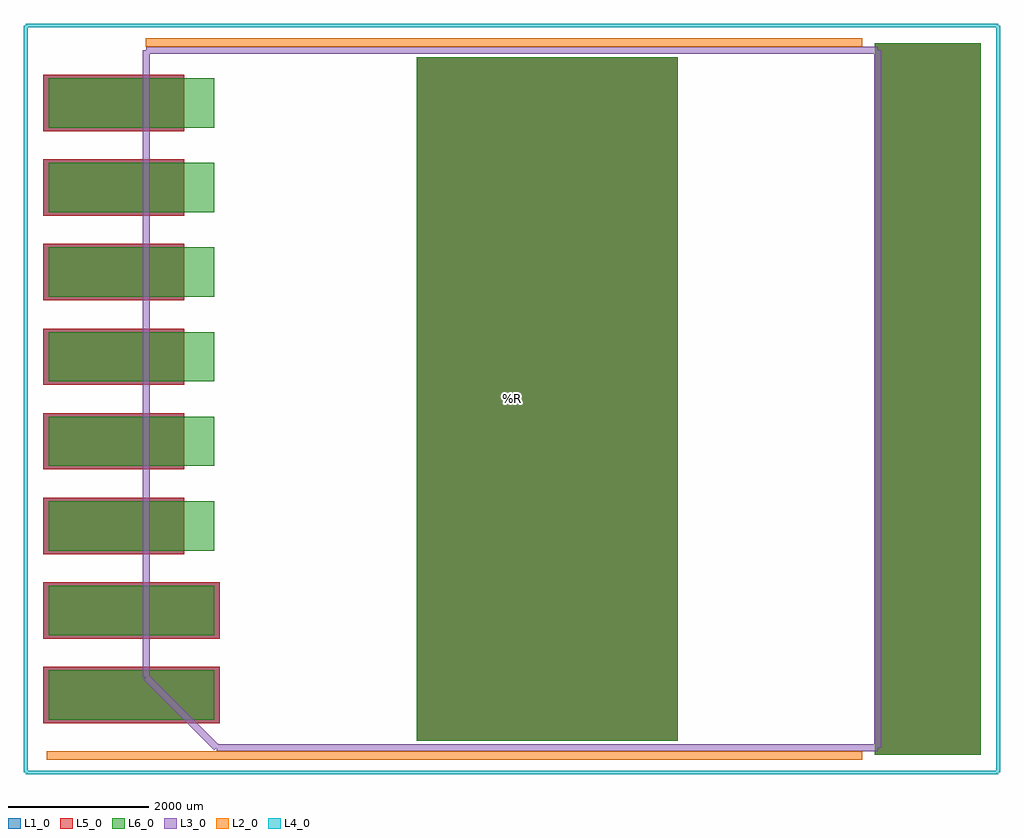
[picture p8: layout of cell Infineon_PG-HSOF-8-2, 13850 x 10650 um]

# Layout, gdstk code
import gdstk
lib = gdstk.Library(unit=1e-6, precision=1e-09)
def R(c, l, rs):  # rectangles x0, y0, x1, y1
    for r in rs: c.add(gdstk.rectangle(r[:2], r[2:], *l))
def A(c, l, x, y, w, h, nx, ny, dx, dy):  # array of equal rectangles
    R(c, l, [(x+i*dx, y+j*dy, x+i*dx+w, y+j*dy+h) for i in range(nx) for j in range(ny)])
L1_0 = (1, 0)
L2_0 = (2, 0)
L3_0 = (3, 0)
L4_0 = (4, 0)
L5_0 = (5, 0)
L6_0 = (6, 0)

infineon_pg_hsof_8_2 = lib.new_cell('Infineon_PG-HSOF-8-2')
A(infineon_pg_hsof_8_2, L1_0, -6650, -2200, 2000, 800, 1, 6, 0, 1200)
R(infineon_pg_hsof_8_2, L1_0, [(5150,-5050,6650,5050), (-1350,-4850,2350,4850), (-6650,-4600,-4150,-3800), (-6650,-3400,-4150,-2600)])
A(infineon_pg_hsof_8_2, L5_0, -6650, -2200, 2000, 800, 1, 6, 0, 1200)
R(infineon_pg_hsof_8_2, L5_0, [(5150,-5050,6650,5050), (-1350,-4850,2350,4850), (-6650,-4600,-4150,-3800), (-6650,-3400,-4150,-2600)])
A(infineon_pg_hsof_8_2, L6_0, -6575, -4550, 2350, 700, 1, 8, 0, 1200)
R(infineon_pg_hsof_8_2, L6_0, [(5150,-5050,6650,5050), (-1350,-4850,2350,4850)])
infineon_pg_hsof_8_2.add(gdstk.FlexPath([(-4188,-4950),(5188,-4950)], 100, ends="flush", simple_path=True, layer=3, datatype=0))  # L3_0
infineon_pg_hsof_8_2.add(gdstk.FlexPath([(-5188,4950),(-5188,-3950)], 100, ends="flush", simple_path=True, layer=3, datatype=0))  # L3_0
infineon_pg_hsof_8_2.add(gdstk.FlexPath([(5188,4950),(-5188,4950)], 100, ends="flush", simple_path=True, layer=3, datatype=0))  # L3_0
infineon_pg_hsof_8_2.add(gdstk.FlexPath([(5188,-4950),(5188,4950)], 100, ends="flush", simple_path=True, layer=3, datatype=0))  # L3_0
infineon_pg_hsof_8_2.add(gdstk.FlexPath([(4970,-5060),(-6600,-5060)], 120, ends="flush", simple_path=True, layer=2, datatype=0))  # L2_0
infineon_pg_hsof_8_2.add(gdstk.FlexPath([(-5200,5060),(4970,5060)], 120, ends="flush", simple_path=True, layer=2, datatype=0))  # L2_0
infineon_pg_hsof_8_2.add(gdstk.FlexPath([(6900,-5300),(-6900,-5300)], 50, ends="flush", simple_path=True, layer=4, datatype=0))  # L4_0
infineon_pg_hsof_8_2.add(gdstk.FlexPath([(-6900,5300),(6900,5300)], 50, ends="flush", simple_path=True, layer=4, datatype=0))  # L4_0
infineon_pg_hsof_8_2.add(gdstk.FlexPath([(-6900,5300),(-6900,-5300)], 50, ends="flush", simple_path=True, layer=4, datatype=0))  # L4_0
infineon_pg_hsof_8_2.add(gdstk.FlexPath([(6900,-5300),(6900,5300)], 50, ends="flush", simple_path=True, layer=4, datatype=0))  # L4_0
infineon_pg_hsof_8_2.add(gdstk.FlexPath([(-4188,-4950),(-5188,-3950)], 100, ends="flush", simple_path=True, layer=3, datatype=0))  # L3_0
infineon_pg_hsof_8_2.add(gdstk.Label('REF**', (0,-6000), layer=2, texttype=0))
infineon_pg_hsof_8_2.add(gdstk.Label('Infineon_PG-HSOF-8-2', (0,6000), layer=3, texttype=0))
infineon_pg_hsof_8_2.add(gdstk.Label('%R', (0,0), layer=3, texttype=0))

lib.write_gds('Infineon_PG-HSOF-8-2.gds')
